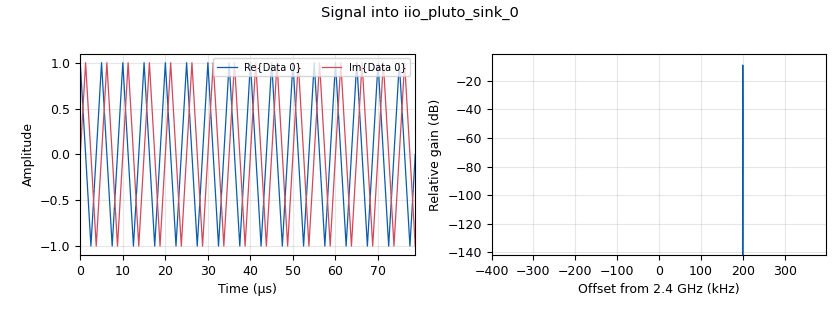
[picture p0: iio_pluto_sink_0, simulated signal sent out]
options:
  parameters:
    generate_options: qt_gui
    id: Example1
    output_language: python
    title: Not titled yet
  states: {}

blocks:
- name: Amp
  id: variable_qtgui_range
  parameters:
    start: '0.001'
    step: '0.01'
    stop: '1'
    value: '0.001'
  states: {}
- name: F_m
  id: variable_qtgui_range
  parameters:
    rangeType: int
    start: '3000000000'
    step: '100000000'
    stop: '1000000000'
    value: '3000000000'
  states: {state: disabled}
- name: LOFreq
  id: variable
  parameters:
    value: int(2.4e9)
  states: {}
- name: samp_rate
  id: variable
  parameters:
    value: '800000'
  states: {}
- name: analog_sig_source_x_0
  id: analog_sig_source_x
  parameters:
    amp: '1'
    freq: '200000'
    offset: '0'
    phase: '0'
    samp_rate: samp_rate
    type: complex
    waveform: analog.GR_COS_WAVE
  states: {}
- name: iio_pluto_sink_0
  id: iio_pluto_sink
  parameters:
    attenuation1: '10.0'
    bandwidth: '20000000'
    buffer_size: '32768'
    cyclic: 'True'
    filter_source: '''Auto'''
    frequency: LOFreq
    samplerate: samp_rate
    type: fc32
    uri: usb:1.13.5
  states: {}
- name: iio_pluto_source_0
  id: iio_pluto_source
  parameters:
    bandwidth: '20000000'
    bbdc: 'True'
    buffer_size: '32768'
    filter_source: '''Auto'''
    frequency: LOFreq
    gain1: '''slow_attack'''
    quadrature: 'True'
    rfdc: 'True'
    samplerate: samp_rate
    type: fc32
    uri: usb:1.14.5
  states: {}
- name: qtgui_sink_x_0
  id: qtgui_sink_x
  parameters:
    bw: samp_rate
    fc: LOFreq
    fftsize: '2048'
    name: ''
    plotconst: 'False'
    plotwaterfall: 'False'
    type: complex
  states: {}

connections:
- [analog_sig_source_x_0, '0', iio_pluto_sink_0, '0']
- [iio_pluto_source_0, '0', qtgui_sink_x_0, '0']

metadata:
  file_format: 1
  grc_version: 3.10.10.0
